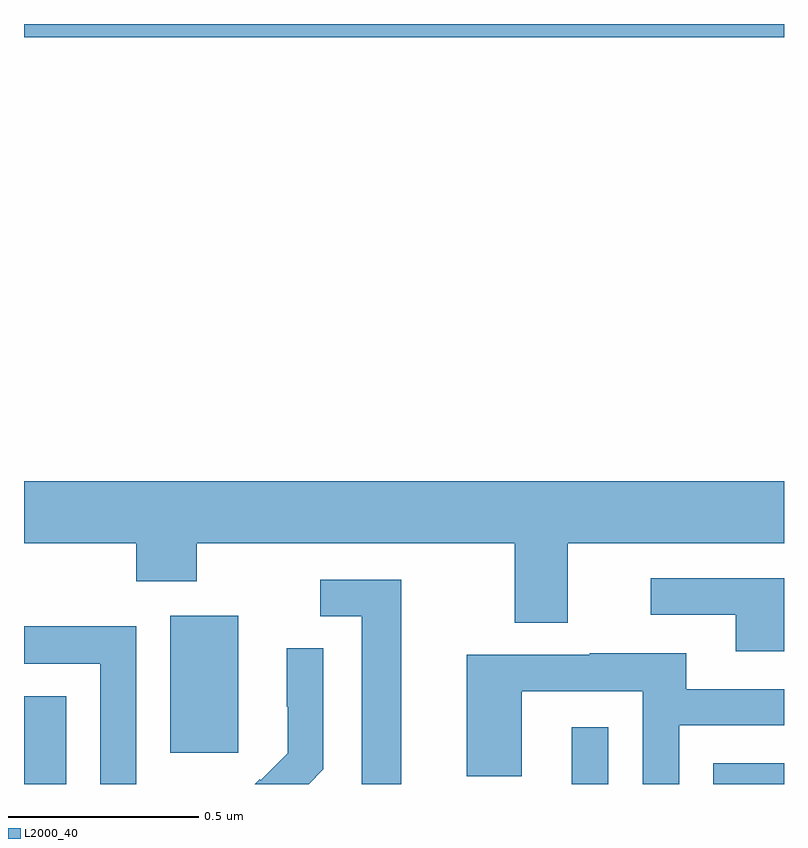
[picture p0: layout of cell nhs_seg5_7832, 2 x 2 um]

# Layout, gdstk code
import gdstk
lib = gdstk.Library(unit=1e-6, precision=1e-09)
def R(c, l, rs):  # rectangles x0, y0, x1, y1
    for r in rs: c.add(gdstk.rectangle(r[:2], r[2:], *l))
def P(c, l, *ps):  # polygons
    for p in ps: c.add(gdstk.Polygon(p, *l))
L2000_40 = (2000, 40)

nhs_seg5_7832 = lib.new_cell('nhs_seg5_7832')
R(nhs_seg5_7832, L2000_40, [(214,850.799,214.111,851.03), (215.441,850.799,215.538,850.948), (215.814,850.799,216,850.854), (214.385,850.881,214.564,851.242), (214,852.764,216,852.799)])
P(nhs_seg5_7832, L2000_40, [(215.431,851.432),(216,851.432),(216,851.596),(214,851.596),(214,851.432),(214.295,851.432),(214.295,851.333),(214.455,851.333),(214.455,851.432),(215.291,851.432),(215.291,851.224),(215.431,851.224)],
  [(216,851.34),(215.649,851.34),(215.649,851.244),(215.873,851.244),(215.873,851.148),(216,851.148)],
  [(214.993,851.337),(214.779,851.337),(214.779,851.241),(214.889,851.241),(214.889,850.799),(214.993,850.799)],
  [(214.296,851.214),(214,851.214),(214,851.115),(214.2,851.115),(214.2,850.799),(214.296,850.799)],
  [(214.788,850.838),(214.788,851.156),(214.692,851.156),(214.692,851.002),(214.694,851.002),(214.694,850.88),(214.623,850.809),(214.62,850.812),(214.607,850.799),(214.749,850.799)],
  [(215.724,850.953),(216,850.953),(216,851.049),(215.743,851.049),(215.743,851.143),(215.489,851.143),(215.489,851.139),(215.165,851.139),(215.165,850.819),(215.31,850.819),(215.31,851.043),(215.628,851.043),(215.628,850.799),(215.724,850.799)])

lib.write_gds('nhs_seg5_7832.gds')
